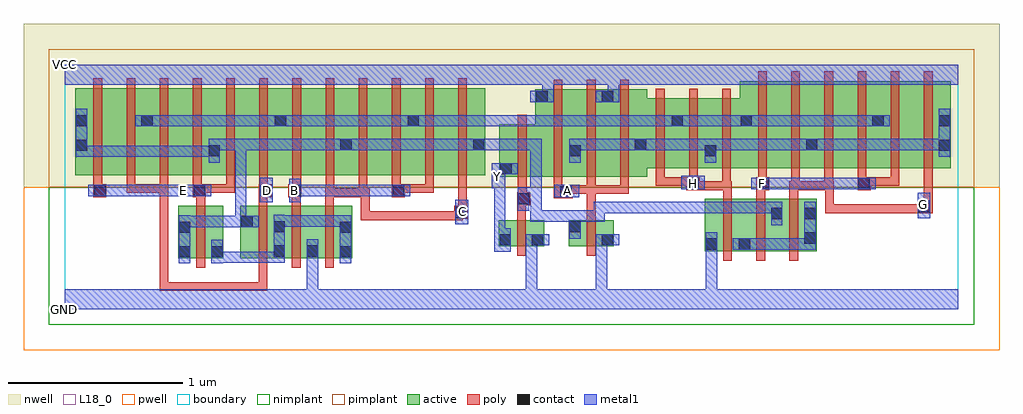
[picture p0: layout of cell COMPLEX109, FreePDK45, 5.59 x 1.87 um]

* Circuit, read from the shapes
.subckt COMPLEX109 A B C D E F G GND H VCC Y
M1 n1 E n2 VSUBS nfet w=0.3u l=0.05u
M2 n1 D n2 VSUBS nfet w=0.3u l=0.05u
M3 GND B n1 VSUBS nfet w=0.3u l=0.05u
M4 n1 C GND VSUBS nfet w=0.3u l=0.05u
M5 GND n2 Y VSUBS nfet w=0.15u l=0.05u
M6 GND A n2 VSUBS nfet w=0.15u l=0.05u
M7 n3 H GND VSUBS nfet w=0.3u l=0.05u
M8 n2 F n3 VSUBS nfet w=0.3u l=0.05u
M9 n3 G n2 VSUBS nfet w=0.3u l=0.05u
M10 n4 E n2 n5 pfet w=0.5u l=0.05u
M11 n6 D n4 n5 pfet w=0.5u l=0.05u
M12 n7 D n6 n5 pfet w=0.5u l=0.05u
M13 n2 E n7 n5 pfet w=0.5u l=0.05u
M14 n8 E n2 n5 pfet w=0.5u l=0.05u
M15 n6 D n8 n5 pfet w=0.5u l=0.05u
M16 n9 B n6 n5 pfet w=0.5u l=0.05u
M17 n2 C n9 n5 pfet w=0.5u l=0.05u
M18 n10 C n2 n5 pfet w=0.5u l=0.05u
M19 n6 B n10 n5 pfet w=0.5u l=0.05u
M20 n11 B n6 n5 pfet w=0.5u l=0.05u
M21 n2 C n11 n5 pfet w=0.5u l=0.05u
M22 VCC n2 Y n5 pfet w=0.3u l=0.05u
M23 n12 A VCC n5 pfet w=0.5u l=0.05u m=3
M24 n6 H n12 n5 pfet w=0.4u l=0.05u m=3
M25 n13 F n6 n5 pfet w=0.5u l=0.05u
M26 n12 G n13 n5 pfet w=0.5u l=0.05u
M27 n14 G n12 n5 pfet w=0.5u l=0.05u
M28 n6 F n14 n5 pfet w=0.5u l=0.05u
M29 n15 F n6 n5 pfet w=0.5u l=0.05u
M30 n12 G n15 n5 pfet w=0.5u l=0.05u
.ends

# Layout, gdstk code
import gdstk
lib = gdstk.Library(unit=1e-6, precision=1e-09)
def R(c, l, rs):  # rectangles x0, y0, x1, y1
    for r in rs: c.add(gdstk.rectangle(r[:2], r[2:], *l))
def A(c, l, x, y, w, h, nx, ny, dx, dy):  # array of equal rectangles
    R(c, l, [(x+i*dx, y+j*dy, x+i*dx+w, y+j*dy+h) for i in range(nx) for j in range(ny)])
active = (1, 0)
pwell = (2, 0)
nwell = (3, 0)
nimplant = (4, 0)
pimplant = (5, 0)
poly = (9, 0)
contact = (10, 0)
metal1 = (11, 0)
L18_0 = (18, 0)
boundary = (235, 0)

complex109 = lib.new_cell('COMPLEX109')
A(complex109, active, 4.092, 0.807, 0.225, 0.5, 3, 1, 0.38, 0)
R(complex109, active, [(0.65,0.292,0.725,0.592), (0.65,0.292,0.91,0.592), (0.835,0.292,0.91,0.592), (1.007,0.292,1.267,0.592), (1.192,0.292,1.267,0.592), (1.192,0.292,1.457,0.592), (1.382,0.292,1.647,0.592), (1.382,0.292,1.457,0.392), (1.572,0.292,1.647,0.592), (1.007,0.33,1.082,0.592), (3.667,0.332,3.742,0.632), (3.667,0.332,3.932,0.632), (3.857,0.332,4.117,0.632), (3.857,0.332,3.932,0.497), (4.042,0.332,4.307,0.632), (4.042,0.332,4.117,0.585), (4.232,0.332,4.307,0.632), (2.487,0.36,2.562,0.51), (2.487,0.36,2.747,0.51), (2.672,0.36,2.747,0.51), (2.887,0.36,2.962,0.51), (2.887,0.36,3.147,0.51), (3.072,0.36,3.147,0.51), (2.49,0.76,2.772,1.06), (2.697,0.76,2.962,1.26), (2.887,0.76,3.147,1.26), (2.887,0.76,2.962,1.07), (3.072,0.76,3.337,1.26), (0.06,0.767,0.285,1.267), (0.06,0.767,0.165,1.2), (0.285,0.767,0.51,1.267), (0.435,0.767,0.665,1.267), (0.435,0.767,0.51,1.2), (0.665,0.767,0.895,1.267), (0.82,0.767,1.045,1.267), (0.82,0.767,0.895,1.07), (1.045,0.767,1.275,1.267), (1.2,0.767,1.425,1.267), (1.2,0.767,1.275,1.2), (1.425,0.767,1.65,1.267), (1.575,0.767,1.805,1.267), (1.575,0.767,1.65,1.07), (1.805,0.767,2.035,1.267), (1.96,0.767,2.185,1.267), (1.96,0.767,2.035,1.2), (2.185,0.767,2.41,1.267), (2.335,0.767,2.41,1.07), (2.49,0.767,2.565,0.917), (3.072,0.807,3.147,1.255), (3.262,0.807,3.337,1.07), (3.262,0.807,3.547,1.207), (3.472,0.807,3.737,1.207), (3.472,0.807,3.547,1.155), (3.662,0.807,3.737,1.07), (3.662,0.807,3.942,1.207), (3.867,0.807,3.942,1.2), (3.867,0.807,4.092,1.307), (4.242,0.807,4.472,1.307), (4.242,0.807,4.317,1.07), (4.622,0.807,4.697,1.2), (4.622,0.807,4.852,1.307), (5.002,0.807,5.077,1.2), (2.697,0.865,2.772,1.255)])
R(complex109, pwell, [(-0.235,-0.235,5.355,0.7)])
R(complex109, nwell, [(-0.235,0.7,5.355,1.635)])
R(complex109, nimplant, [(-0.09,-0.09,5.21,0.7)])
R(complex109, pimplant, [(-0.09,0.7,5.21,1.49)])
A(complex109, poly, 1.112, 0.237, 0.05, 0.41, 3, 1, 0.19, 0)
A(complex109, poly, 3.772, 0.277, 0.05, 0.41, 3, 1, 0.19, 0)
A(complex109, poly, 1.112, 0.597, 0.05, 0.095, 3, 1, 0.19, 0)
A(complex109, poly, 3.772, 0.637, 0.05, 0.095, 3, 1, 0.19, 0)
A(complex109, poly, 2.802, 0.66, 0.05, 0.095, 3, 1, 0.19, 0)
A(complex109, poly, 0.165, 0.667, 0.05, 0.095, 7, 1, 0.19, 0)
A(complex109, poly, 2.802, 0.705, 0.05, 0.61, 3, 1, 0.19, 0)
A(complex109, poly, 0.165, 0.712, 0.05, 0.61, 12, 1, 0.19, 0)
A(complex109, poly, 3.387, 0.752, 0.05, 0.51, 3, 1, 0.19, 0)
A(complex109, poly, 3.972, 0.752, 0.05, 0.61, 6, 1, 0.19, 0)
R(complex109, poly, [(0.545,0.105,0.595,0.155), (0.545,0.105,0.595,0.155), (0.545,0.105,0.595,0.155), (0.545,0.105,0.595,0.155), (0.545,0.105,0.595,0.155), (0.545,0.105,0.595,0.155), (0.545,0.105,0.595,0.155), (0.545,0.105,0.595,0.155), (0.545,0.105,0.595,0.155), (0.545,0.105,0.842,0.155), (0.545,0.105,0.595,0.717), (0.792,0.105,0.842,0.155), (0.792,0.105,1.03,0.155), (0.98,0.105,1.03,0.155), (0.98,0.105,1.03,0.155), (0.98,0.105,1.03,0.155), (0.98,0.105,1.162,0.155), (1.112,0.105,1.162,0.155), (1.112,0.105,1.162,0.155), (1.112,0.105,1.162,0.155), (1.112,0.105,1.162,0.287), (0.755,0.237,0.805,0.647), (2.592,0.305,2.642,0.565), (2.992,0.305,3.042,0.565), (1.697,0.51,1.747,0.56), (1.697,0.51,1.747,0.56), (1.697,0.51,1.747,0.56), (1.697,0.51,1.747,0.56), (1.697,0.51,1.747,0.56), (1.697,0.51,1.747,0.692), (1.697,0.51,1.97,0.56), (1.92,0.51,1.97,0.56), (1.92,0.51,2.102,0.56), (2.052,0.51,2.102,0.56), (2.052,0.51,2.102,0.56), (2.052,0.51,2.102,0.56), (2.052,0.51,2.282,0.56), (2.232,0.51,2.282,0.56), (2.232,0.51,2.282,0.56), (2.232,0.51,2.282,0.56), (2.232,0.51,2.282,0.56), (2.232,0.51,2.282,0.567), (2.592,0.515,2.642,0.645), (2.992,0.515,3.042,0.71), (2.232,0.517,2.282,0.567), (2.232,0.517,2.307,0.592), (2.255,0.542,2.305,0.762), (4.357,0.55,4.407,0.6), (4.357,0.55,4.407,0.6), (4.357,0.55,4.407,0.6), (4.357,0.55,4.54,0.6), (4.357,0.55,4.407,0.732), (4.49,0.55,4.54,0.6), (4.49,0.55,4.54,0.6), (4.49,0.55,4.54,0.6), (4.49,0.55,4.805,0.6), (4.755,0.55,4.805,0.6), (4.755,0.55,4.805,0.6), (4.755,0.55,4.805,0.6), (4.755,0.55,4.937,0.6), (4.887,0.55,4.937,0.6), (4.887,0.55,4.937,0.6), (4.887,0.55,4.937,0.6), (4.887,0.55,4.937,0.6), (4.887,0.55,4.972,0.625), (4.922,0.575,4.972,0.802), (2.592,0.595,2.667,0.67), (0.755,0.597,0.805,0.692), (2.597,0.62,2.647,0.755), (2.802,0.635,2.91,0.71), (0.165,0.642,0.24,0.717), (0.735,0.642,0.81,0.717), (1.112,0.642,1.187,0.717), (1.282,0.642,1.357,0.717), (1.492,0.642,1.545,0.692), (1.495,0.642,1.545,0.762), (1.495,0.642,1.557,0.692), (1.507,0.642,1.557,0.692), (1.507,0.642,1.735,0.692), (1.685,0.642,1.735,0.762), (1.685,0.642,1.747,0.692), (1.875,0.642,1.95,0.717), (2.86,0.66,2.91,0.71), (2.86,0.66,2.91,0.71), (2.86,0.66,3.042,0.71), (2.992,0.66,3.042,0.71), (2.992,0.66,3.232,0.71), (3.182,0.66,3.232,0.71), (3.182,0.66,3.232,0.71), (3.182,0.66,3.232,0.71), (0.355,0.667,0.405,0.717), (0.355,0.667,0.405,0.717), (0.355,0.667,0.405,0.717), (0.355,0.667,0.595,0.717), (0.545,0.667,0.595,0.717), (0.76,0.667,0.81,0.717), (0.76,0.667,0.81,0.717), (0.76,0.667,0.975,0.717), (0.925,0.667,0.975,0.717), (1.875,0.667,1.925,0.762), (1.9,0.667,2.115,0.717), (2.065,0.667,2.115,0.717), (2.065,0.667,2.115,0.717), (2.065,0.667,2.115,0.717), (2.065,0.667,2.115,0.762), (3.562,0.682,3.637,0.757), (3.587,0.682,3.637,0.732), (3.587,0.682,3.637,0.732), (3.587,0.682,3.817,0.732), (3.767,0.682,3.817,0.802), (3.767,0.682,3.822,0.732), (3.962,0.682,4.037,0.757), (4.152,0.682,4.212,0.732), (4.162,0.682,4.212,0.732), (4.162,0.682,4.212,0.732), (4.162,0.682,4.212,0.802), (4.162,0.682,4.402,0.732), (4.352,0.682,4.402,0.802), (4.352,0.682,4.407,0.732), (4.357,0.682,4.407,0.732), (4.357,0.682,4.407,0.732), (4.542,0.682,4.617,0.757), (2.597,0.705,2.647,1.115), (3.387,0.707,3.437,0.757), (3.387,0.707,3.437,0.757), (3.387,0.707,3.437,0.757), (3.387,0.707,3.437,0.802), (3.387,0.707,3.612,0.757), (3.577,0.707,3.627,0.802), (3.972,0.707,4.022,0.802), (4.542,0.707,4.592,0.802), (4.567,0.707,4.617,0.757), (4.567,0.707,4.617,0.757), (4.567,0.707,4.782,0.757), (4.732,0.707,4.782,0.757), (4.732,0.707,4.782,0.802)])
R(complex109, contact, [(0.655,0.297,0.72,0.362), (0.84,0.297,0.905,0.362), (1.577,0.297,1.642,0.362), (1.197,0.3,1.262,0.365), (1.387,0.3,1.452,0.365), (3.672,0.342,3.737,0.407), (3.862,0.342,3.927,0.407), (2.492,0.365,2.557,0.43), (2.677,0.365,2.742,0.43), (3.077,0.365,3.142,0.43), (4.237,0.375,4.302,0.44), (0.655,0.437,0.72,0.502), (1.577,0.437,1.642,0.502), (1.197,0.44,1.262,0.505), (2.892,0.44,2.957,0.505), (1.012,0.47,1.077,0.535), (4.047,0.515,4.112,0.58), (4.237,0.515,4.302,0.58), (2.237,0.522,2.302,0.587), (4.892,0.555,4.957,0.62), (2.597,0.6,2.662,0.665), (2.84,0.64,2.905,0.705), (0.17,0.647,0.235,0.712), (0.74,0.647,0.805,0.712), (1.117,0.647,1.182,0.712), (1.287,0.647,1.352,0.712), (1.88,0.647,1.945,0.712), (3.567,0.687,3.632,0.752), (3.967,0.687,4.032,0.752), (4.547,0.687,4.612,0.752), (2.495,0.772,2.56,0.837), (0.825,0.875,0.89,0.94), (2.892,0.875,2.957,0.94), (3.667,0.875,3.732,0.94), (0.065,0.907,0.13,0.972), (5.007,0.907,5.072,0.972), (1.58,0.91,1.645,0.975), (2.34,0.91,2.405,0.975), (3.267,0.91,3.332,0.975), (4.247,0.91,4.312,0.975), (0.065,1.047,0.13,1.112), (0.44,1.047,0.505,1.112), (1.205,1.047,1.27,1.112), (1.965,1.047,2.03,1.112), (3.477,1.047,3.542,1.112), (3.872,1.047,3.937,1.112), (4.627,1.047,4.692,1.112), (5.007,1.047,5.072,1.112), (2.702,1.185,2.767,1.25), (3.077,1.185,3.142,1.25)])
R(complex109, metal1, [(0,0,5.12,0.115), (1.387,0.05,1.452,0.115), (1.387,0.05,1.452,0.115), (1.387,0.05,1.452,0.115), (1.387,0.05,1.452,0.115), (1.387,0.05,1.452,0.33), (2.642,0.05,2.707,0.115), (2.642,0.05,2.707,0.115), (2.642,0.05,2.707,0.115), (2.642,0.05,2.707,0.115), (2.642,0.05,2.707,0.43), (3.042,0.05,3.107,0.115), (3.042,0.05,3.107,0.115), (3.042,0.05,3.107,0.115), (3.042,0.05,3.107,0.115), (3.042,0.05,3.107,0.43), (3.672,0.05,3.737,0.115), (3.672,0.05,3.737,0.115), (3.672,0.05,3.737,0.372), (0.655,0.262,0.72,0.537), (0.84,0.262,0.905,0.397), (1.577,0.262,1.642,0.537), (0.84,0.265,0.905,0.33), (0.84,0.265,0.905,0.33), (0.84,0.265,1.077,0.33), (1.012,0.265,1.077,0.33), (1.012,0.265,1.18,0.33), (1.115,0.265,1.18,0.33), (1.115,0.265,1.262,0.33), (1.197,0.265,1.262,0.54), (1.387,0.265,1.452,0.4), (3.672,0.307,3.737,0.372), (3.672,0.307,3.737,0.372), (3.672,0.307,3.737,0.442), (2.46,0.33,2.557,0.465), (4.237,0.34,4.302,0.615), (3.827,0.342,3.962,0.407), (3.897,0.342,3.962,0.407), (3.897,0.342,3.962,0.407), (3.897,0.342,4.112,0.407), (4.047,0.342,4.112,0.407), (4.047,0.342,4.302,0.407), (4.237,0.342,4.302,0.407), (4.237,0.342,4.302,0.407), (2.642,0.365,2.707,0.43), (2.642,0.365,2.707,0.43), (2.642,0.365,2.777,0.43), (3.042,0.365,3.107,0.43), (3.042,0.365,3.107,0.43), (3.042,0.365,3.177,0.43), (2.46,0.4,2.525,0.757), (2.892,0.405,2.957,0.567), (0.655,0.47,0.72,0.535), (0.655,0.47,0.72,0.535), (0.655,0.47,0.905,0.535), (0.84,0.47,0.905,0.535), (0.84,0.47,0.905,0.535), (0.84,0.47,0.905,0.535), (0.84,0.47,1.042,0.535), (0.977,0.47,1.112,0.535), (0.977,0.47,1.042,0.677), (1.197,0.472,1.405,0.537), (1.34,0.472,1.405,0.537), (1.34,0.472,1.442,0.537), (1.377,0.472,1.442,0.537), (1.377,0.472,1.542,0.537), (1.477,0.472,1.542,0.537), (1.477,0.472,1.642,0.537), (4.047,0.48,4.112,0.615), (2.237,0.487,2.312,0.627), (2.667,0.502,2.732,0.567), (2.667,0.502,2.957,0.567), (2.667,0.502,2.732,0.7), (2.892,0.502,2.957,0.567), (2.892,0.502,2.957,0.567), (2.892,0.502,3.095,0.567), (3.03,0.502,3.095,0.57), (3.03,0.505,3.095,0.57), (3.03,0.505,3.095,0.615), (4.887,0.52,4.957,0.667), (3.03,0.55,3.232,0.615), (3.167,0.55,3.232,0.615), (3.167,0.55,3.37,0.615), (3.305,0.55,3.37,0.615), (3.305,0.55,3.37,0.615), (3.305,0.55,3.37,0.615), (3.305,0.55,3.507,0.615), (3.442,0.55,3.507,0.615), (3.442,0.55,3.507,0.615), (3.442,0.55,3.507,0.615), (3.442,0.55,3.732,0.615), (3.667,0.55,3.732,0.615), (3.667,0.55,3.732,0.615), (3.667,0.55,3.732,0.615), (3.667,0.55,3.875,0.615), (3.81,0.55,3.875,0.615), (3.81,0.55,3.875,0.615), (3.81,0.55,3.875,0.615), (3.81,0.55,4.112,0.615), (2.597,0.565,2.662,0.7), (0.977,0.612,1.042,0.677), (0.977,0.612,1.042,0.677), (0.977,0.612,1.042,0.677), (0.977,0.612,1.042,0.975), (1.117,0.612,1.192,0.752), (1.287,0.612,1.352,0.747), (2.597,0.635,2.732,0.7), (2.667,0.635,2.732,0.7), (2.667,0.635,2.732,0.752), (2.805,0.64,2.947,0.712), (0.135,0.647,0.27,0.712), (0.205,0.647,0.27,0.712), (0.205,0.647,0.27,0.712), (0.205,0.647,0.407,0.712), (0.342,0.647,0.407,0.712), (0.342,0.647,0.407,0.712), (0.342,0.647,0.407,0.712), (0.342,0.647,0.582,0.712), (0.517,0.647,0.582,0.712), (0.517,0.647,0.677,0.712), (0.612,0.647,0.747,0.712), (0.682,0.647,0.77,0.712), (0.705,0.647,0.84,0.712), (1.287,0.647,1.472,0.712), (1.407,0.647,1.472,0.712), (1.407,0.647,1.542,0.712), (1.477,0.647,1.542,0.712), (1.477,0.647,1.61,0.712), (1.545,0.647,1.61,0.712), (1.545,0.647,1.72,0.712), (1.655,0.647,1.72,0.712), (1.655,0.647,1.817,0.712), (1.752,0.647,1.817,0.712), (1.752,0.647,1.91,0.712), (1.845,0.647,1.98,0.712), (2.667,0.687,2.732,0.752), (2.667,0.687,2.732,0.975), (3.532,0.687,3.667,0.765), (3.932,0.687,4.067,0.752), (4.002,0.687,4.112,0.752), (4.047,0.687,4.112,0.752), (4.047,0.687,4.25,0.752), (4.185,0.687,4.25,0.752), (4.185,0.687,4.25,0.752), (4.185,0.687,4.25,0.752), (4.185,0.687,4.44,0.752), (4.375,0.687,4.44,0.752), (4.375,0.687,4.485,0.752), (4.42,0.687,4.485,0.752), (4.42,0.687,4.577,0.752), (4.512,0.687,4.647,0.752), (2.447,0.692,2.525,0.837), (2.46,0.772,2.525,0.837), (2.46,0.772,2.595,0.837), (0.825,0.84,0.89,0.975), (2.892,0.84,2.957,0.975), (3.667,0.84,3.732,0.975), (0.065,0.872,0.13,1.147), (0.065,0.872,0.267,0.937), (0.202,0.872,0.267,0.937), (0.202,0.872,0.267,0.937), (0.202,0.872,0.267,0.937), (0.202,0.872,0.407,0.937), (0.342,0.872,0.407,0.937), (0.342,0.872,0.407,0.937), (0.342,0.872,0.407,0.937), (0.342,0.872,0.545,0.937), (0.48,0.872,0.545,0.937), (0.48,0.872,0.752,0.937), (0.687,0.872,0.752,0.937), (0.687,0.872,0.752,0.937), (0.687,0.872,0.752,0.937), (0.687,0.872,0.89,0.937), (5.007,0.872,5.072,1.147), (0.825,0.91,1.042,0.975), (0.977,0.91,1.042,0.975), (0.977,0.91,1.042,0.975), (0.977,0.91,1.042,0.975), (0.977,0.91,1.215,0.975), (1.15,0.91,1.215,0.975), (1.15,0.91,1.215,0.975), (1.15,0.91,1.215,0.975), (1.15,0.91,1.405,0.975), (1.34,0.91,1.405,0.975), (1.34,0.91,1.442,0.975), (1.377,0.91,1.442,0.975), (1.377,0.91,1.542,0.975), (1.477,0.91,1.542,0.975), (1.477,0.91,1.61,0.975), (1.545,0.91,1.68,0.975), (1.615,0.91,1.68,0.975), (1.615,0.91,1.68,0.975), (1.615,0.91,1.857,0.975), (1.792,0.91,1.857,0.975), (1.792,0.91,1.857,0.975), (1.792,0.91,1.857,0.975), (1.792,0.91,1.995,0.975), (1.93,0.91,1.995,0.975), (1.93,0.91,1.995,0.975), (1.93,0.91,1.995,0.975), (1.93,0.91,2.202,0.975), (2.137,0.91,2.202,0.975), (2.137,0.91,2.37,0.975), (2.305,0.91,2.37,0.975), (2.305,0.91,2.37,0.975), (2.305,0.91,2.44,0.975), (2.375,0.91,2.507,0.975), (2.442,0.91,2.507,0.975), (2.442,0.91,2.732,0.975), (2.667,0.91,2.732,0.975), (2.667,0.91,2.732,0.975), (2.667,0.91,2.732,0.975), (2.892,0.91,3.095,0.975), (3.03,0.91,3.095,0.975), (3.03,0.91,3.095,0.975), (3.03,0.91,3.095,0.975), (3.03,0.91,3.232,0.975), (3.167,0.91,3.232,0.975), (3.167,0.91,3.297,0.975), (3.232,0.91,3.367,0.975), (3.302,0.91,3.37,0.975), (3.305,0.91,3.37,0.975), (3.305,0.91,3.507,0.975), (3.442,0.91,3.507,0.975), (3.442,0.91,3.507,0.975), (3.442,0.91,3.507,0.975), (3.442,0.91,3.732,0.975), (3.667,0.91,3.732,0.975), (3.667,0.91,3.732,0.975), (3.667,0.91,3.87,0.975), (3.805,0.91,3.87,0.975), (3.805,0.91,4.11,0.975), (4.045,0.91,4.11,0.975), (4.045,0.91,4.11,0.975), (4.045,0.91,4.11,0.975), (4.045,0.91,4.277,0.975), (4.212,0.91,4.277,0.975), (4.212,0.91,4.277,0.975), (4.212,0.91,4.347,0.975), (4.282,0.91,4.44,0.975), (4.375,0.91,4.44,0.975), (4.375,0.91,4.485,0.975), (4.42,0.91,4.485,0.975), (4.42,0.91,4.657,0.975), (4.592,0.91,4.657,0.975), (4.592,0.91,4.657,0.975), (4.592,0.91,4.657,0.975), (4.592,0.91,4.795,0.975), (4.73,0.91,4.795,0.975), (4.73,0.91,4.795,0.975), (4.73,0.91,4.795,0.975), (4.73,0.91,5.072,0.975), (5.007,0.91,5.072,0.975), (5.007,0.91,5.072,0.975), (0.405,1.047,0.54,1.112), (0.475,1.047,0.545,1.112), (0.48,1.047,0.545,1.112), (0.48,1.047,0.752,1.112), (0.687,1.047,0.752,1.112), (0.687,1.047,0.752,1.112), (0.687,1.047,0.752,1.112), (0.687,1.047,0.905,1.112), (0.84,1.047,0.905,1.112), (0.84,1.047,0.905,1.112), (0.84,1.047,0.905,1.112), (0.84,1.047,1.042,1.112), (0.977,1.047,1.042,1.112), (0.977,1.047,1.18,1.112), (1.115,1.047,1.18,1.112), (1.115,1.047,1.235,1.112), (1.17,1.047,1.305,1.112), (1.24,1.047,1.405,1.112), (1.34,1.047,1.405,1.112), (1.34,1.047,1.442,1.112), (1.377,1.047,1.442,1.112), (1.377,1.047,1.542,1.112), (1.477,1.047,1.542,1.112), (1.477,1.047,1.61,1.112), (1.545,1.047,1.61,1.112), (1.545,1.047,1.68,1.112), (1.615,1.047,1.68,1.112), (1.615,1.047,1.857,1.112), (1.792,1.047,1.857,1.112), (1.792,1.047,1.857,1.112), (1.792,1.047,1.857,1.112), (1.792,1.047,1.995,1.112), (1.93,1.047,2.065,1.112), (2,1.047,2.065,1.112), (2,1.047,2.065,1.112), (2,1.047,2.232,1.112), (2.167,1.047,2.232,1.112), (2.167,1.047,2.37,1.112), (2.305,1.047,2.37,1.112), (2.305,1.047,2.37,1.112), (2.305,1.047,2.37,1.112), (2.305,1.047,2.507,1.112), (2.442,1.047,2.507,1.112), (2.442,1.047,2.662,1.112), (2.597,1.047,2.662,1.112), (2.597,1.047,2.662,1.112), (2.597,1.047,2.662,1.112), (2.597,1.047,2.957,1.112), (2.892,1.047,2.957,1.112), (2.892,1.047,2.957,1.112), (2.892,1.047,2.957,1.112), (2.892,1.047,3.095,1.112), (3.03,1.047,3.095,1.112), (3.03,1.047,3.095,1.112), (3.03,1.047,3.095,1.112), (3.03,1.047,3.232,1.112), (3.167,1.047,3.232,1.112), (3.167,1.047,3.37,1.112), (3.305,1.047,3.37,1.112), (3.305,1.047,3.37,1.112), (3.305,1.047,3.37,1.112), (3.305,1.047,3.507,1.112), (3.442,1.047,3.577,1.112), (3.512,1.047,3.577,1.112), (3.512,1.047,3.577,1.112), (3.512,1.047,3.732,1.112), (3.667,1.047,3.732,1.112), (3.667,1.047,3.732,1.112), (3.667,1.047,3.732,1.112), (3.667,1.047,3.902,1.112), (3.837,1.047,3.972,1.112), (3.907,1.047,4.11,1.112), (4.045,1.047,4.11,1.112), (4.045,1.047,4.11,1.112), (4.045,1.047,4.11,1.112), (4.045,1.047,4.25,1.112), (4.185,1.047,4.25,1.112), (4.185,1.047,4.25,1.112), (4.185,1.047,4.25,1.112), (4.185,1.047,4.44,1.112), (4.375,1.047,4.44,1.112), (4.375,1.047,4.485,1.112), (4.42,1.047,4.485,1.112), (4.42,1.047,4.657,1.112), (4.592,1.047,4.657,1.112), (4.592,1.047,4.657,1.112), (4.592,1.047,4.727,1.112), (2.667,1.185,2.802,1.25), (2.737,1.185,2.802,1.35), (3.042,1.185,3.177,1.25), (3.112,1.185,3.177,1.35), (0,1.285,5.12,1.4)])
R(complex109, L18_0, [(0,0,5.12,0.115), (1.387,0.05,1.452,0.115), (1.387,0.05,1.452,0.115), (1.387,0.05,1.452,0.115), (1.387,0.05,1.452,0.115), (1.387,0.05,1.452,0.33), (2.642,0.05,2.707,0.115), (2.642,0.05,2.707,0.115), (2.642,0.05,2.707,0.115), (2.642,0.05,2.707,0.115), (2.642,0.05,2.707,0.43), (3.042,0.05,3.107,0.115), (3.042,0.05,3.107,0.115), (3.042,0.05,3.107,0.115), (3.042,0.05,3.107,0.115), (3.042,0.05,3.107,0.43), (3.672,0.05,3.737,0.115), (3.672,0.05,3.737,0.115), (3.672,0.05,3.737,0.372), (1.387,0.265,1.452,0.4), (3.672,0.307,3.737,0.372), (3.672,0.307,3.737,0.372), (3.672,0.307,3.737,0.442), (2.46,0.33,2.557,0.465), (2.642,0.365,2.777,0.43), (2.642,0.365,2.707,0.43), (2.642,0.365,2.707,0.43), (3.042,0.365,3.177,0.43), (3.042,0.365,3.107,0.43), (3.042,0.365,3.107,0.43), (2.46,0.4,2.525,0.757), (2.237,0.487,2.312,0.627), (4.887,0.52,4.957,0.667), (2.247,0.527,2.312,0.592), (4.887,0.567,4.952,0.632), (1.117,0.612,1.192,0.752), (1.287,0.612,1.352,0.747), (2.805,0.64,2.947,0.712), (0.135,0.647,0.27,0.712), (0.205,0.647,0.27,0.712), (0.205,0.647,0.27,0.712), (0.205,0.647,0.407,0.712), (0.342,0.647,0.407,0.712), (0.342,0.647,0.407,0.712), (0.342,0.647,0.407,0.712), (0.342,0.647,0.582,0.712), (0.517,0.647,0.582,0.712), (0.517,0.647,0.677,0.712), (0.612,0.647,0.747,0.712), (0.647,0.647,0.712,0.712), (0.682,0.647,0.77,0.712), (0.705,0.647,0.84,0.712), (1.127,0.647,1.192,0.712), (1.287,0.647,1.352,0.712), (1.287,0.647,1.472,0.712), (1.407,0.647,1.542,0.712), (1.407,0.647,1.472,0.712), (1.477,0.647,1.542,0.712), (1.477,0.647,1.61,0.712), (1.545,0.647,1.61,0.712), (1.545,0.647,1.72,0.712), (1.655,0.647,1.72,0.712), (1.655,0.647,1.817,0.712), (1.752,0.647,1.817,0.712), (1.752,0.647,1.91,0.712), (1.845,0.647,1.98,0.712), (2.847,0.647,2.912,0.712), (3.532,0.687,3.667,0.765), (3.567,0.687,3.632,0.752), (3.932,0.687,4.067,0.752), (3.967,0.687,4.032,0.752), (4.002,0.687,4.112,0.752), (4.047,0.687,4.112,0.752), (4.047,0.687,4.25,0.752), (4.185,0.687,4.25,0.752), (4.185,0.687,4.25,0.752), (4.185,0.687,4.25,0.752), (4.185,0.687,4.44,0.752), (4.375,0.687,4.44,0.752), (4.375,0.687,4.485,0.752), (4.42,0.687,4.485,0.752), (4.42,0.687,4.577,0.752), (4.512,0.687,4.647,0.752), (2.447,0.692,2.525,0.837), (2.447,0.727,2.512,0.792), (2.46,0.772,2.595,0.837), (2.46,0.772,2.525,0.837), (2.667,1.185,2.802,1.25), (2.737,1.185,2.802,1.35), (3.042,1.185,3.177,1.25), (3.112,1.185,3.177,1.35), (0,1.285,5.12,1.4)])
R(complex109, boundary, [(0,0,5.12,1.4)])
complex109.add(gdstk.Label('A', (2.88,0.68), layer=11, texttype=0))
complex109.add(gdstk.Label('B', (1.32,0.68), layer=11, texttype=0))
complex109.add(gdstk.Label('C', (2.28,0.56), layer=11, texttype=0))
complex109.add(gdstk.Label('D', (1.16,0.68), layer=11, texttype=0))
complex109.add(gdstk.Label('E', (0.68,0.68), layer=11, texttype=0))
complex109.add(gdstk.Label('F', (4,0.72), layer=11, texttype=0))
complex109.add(gdstk.Label('G', (4.92,0.6), layer=11, texttype=0))
complex109.add(gdstk.Label('H', (3.6,0.72), layer=11, texttype=0))
complex109.add(gdstk.Label('Y', (2.48,0.76), layer=11, texttype=0))
complex109.add(gdstk.Label('VCC', (0,1.4), layer=11, texttype=0))
complex109.add(gdstk.Label('GND', (0,0), layer=11, texttype=0))

lib.write_gds('COMPLEX109.gds')
